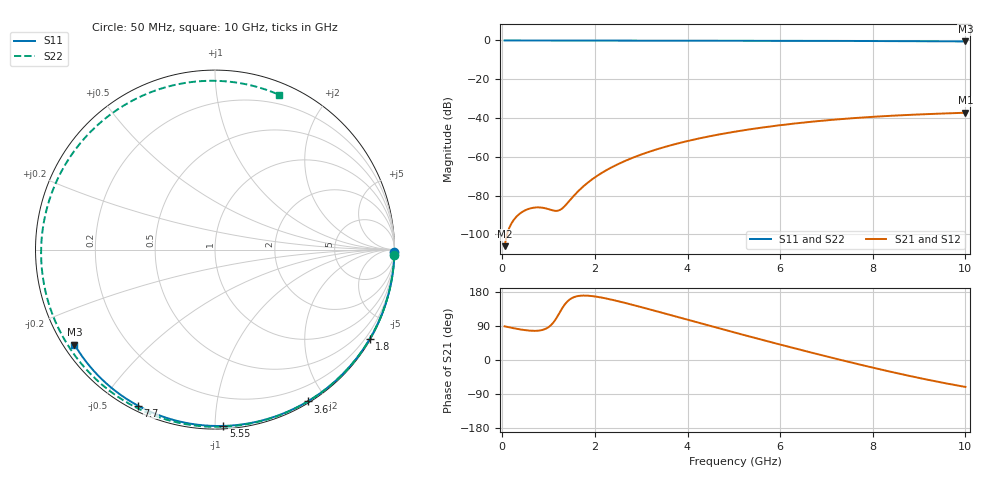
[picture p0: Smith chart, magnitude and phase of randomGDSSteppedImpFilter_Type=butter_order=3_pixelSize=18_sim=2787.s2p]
! freq	dB(S11)	phase(S11)	dB(S12)	phase(S12)
!  dB(S21)	phase(S21)	dB(S22)	phase(S22)
!S-par simulation data
#  GHz  S  DB  R 50
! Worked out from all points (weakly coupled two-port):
!   200 points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, 50 MHz to 10 GHz, reference 50 ohm
!   highest |S21| = -37.27 dB at 10 GHz (marker M1); lowest = -106.1 dB at 50 MHz (marker M2)
!   lowest |S11| = -0.5 dB at 10 GHz (marker M3), VSWR 35.22, Z = 1.55 - j15.3 ohm
!   |S11| at or under -10 dB: nowhere
!   |S22| runs from -0.6 to 0.0 dB; largest |S21 - S12| = 0
!   S11 on the Smith chart (normalised r, x): 50 MHz: open; 1.8 GHz: 0.03, -3.72; 3.6 GHz: 0.02, -1.78; 5.55 GHz: 0.02, -1.05; 7.7 GHz: 0.02, -0.62; 10 GHz: 0.03, -0.31
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0.05  -0.00 -0.9  -106.06 88.8  -106.06 88.8  -0.00 -1.8
0.75  -0.02 -12.7  -86.06 77.2  -86.06 77.2  -0.03 -26.3
1.55  -0.03 -26.0  -79.95 165.9  -79.95 165.9  -0.07 -53.3
1.75  -0.04 -29.2  -75.23 170.0  -75.23 170.0  -0.07 -59.8
1.8  -0.04 -30.1  -74.21 170.0  -74.21 170.0  -0.08 -61.4
2.1  -0.04 -34.9  -69.00 165.7  -69.00 165.7  -0.09 -70.9
2.45  -0.05 -40.6  -64.34 156.7  -64.34 156.7  -0.10 -81.7
2.9  -0.06 -47.7  -59.70 142.8  -59.70 142.8  -0.11 -95.1
3.4  -0.07 -55.5  -55.67 126.4  -55.67 126.4  -0.13 -109.3
3.6  -0.08 -58.6  -54.30 119.7  -54.30 119.7  -0.14 -114.8
4.35  -0.10 -69.9  -50.01 94.6  -50.01 94.6  -0.17 -134.9
5.05  -0.12 -80.2  -46.92 71.4  -46.92 71.4  -0.21 -153.0
5.55  -0.14 -87.3  -45.11 55.2  -45.11 55.2  -0.24 -165.7
6.15  -0.17 -95.6  -43.27 36.0  -43.27 36.0  -0.28 179.0
6.7  -0.20 -103.1  -41.85 18.7  -41.85 18.7  -0.32 164.8
7.2  -0.23 -109.8  -40.77 3.4  -40.77 3.4  -0.36 151.6
7.7  -0.27 -116.4  -39.85 -11.5  -39.85 -11.5  -0.40 137.9
8.35  -0.32 -124.8  -38.89 -30.0  -38.89 -30.0  -0.45 119.3
8.8  -0.36 -130.6  -38.35 -42.2  -38.35 -42.2  -0.49 105.8
9.2  -0.40 -135.7  -37.95 -52.4  -37.95 -52.4  -0.52 93.4
9.6  -0.45 -140.8  -37.59 -62.1  -37.59 -62.1  -0.56 80.6
10  -0.49 -146.0  -37.27 -71.1  -37.27 -71.1  -0.60 67.4
